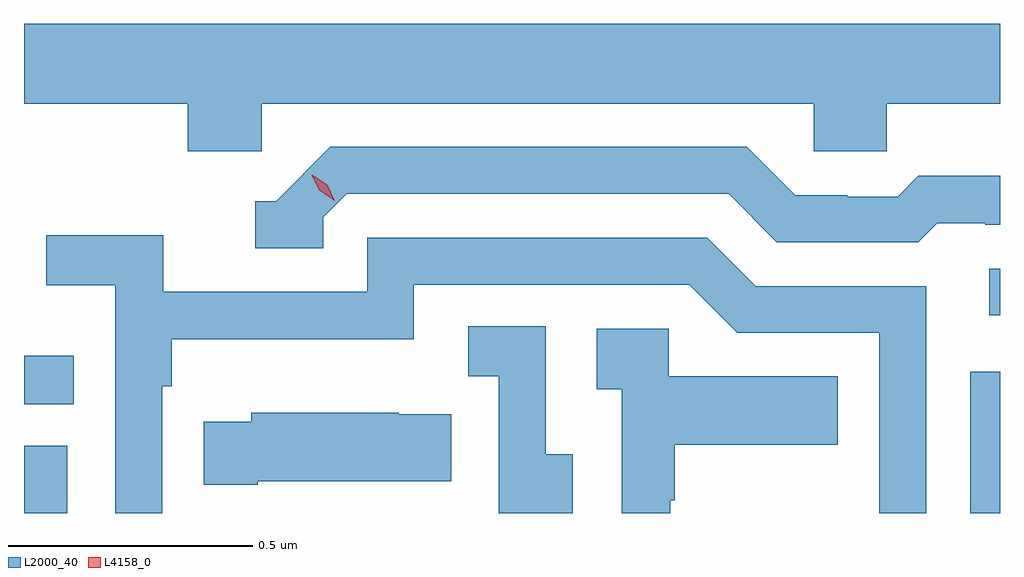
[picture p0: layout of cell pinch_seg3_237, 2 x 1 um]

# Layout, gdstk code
import gdstk
lib = gdstk.Library(unit=1e-6, precision=1e-09)
def R(c, l, rs):  # rectangles x0, y0, x1, y1
    for r in rs: c.add(gdstk.rectangle(r[:2], r[2:], *l))
def P(c, l, *ps):  # polygons
    for p in ps: c.add(gdstk.Polygon(p, *l))
L2000_40 = (2000, 40)
L4158_0 = (4158, 0)

pinch_seg3_237 = lib.new_cell('pinch_seg3_237')
R(pinch_seg3_237, L2000_40, [(912.665,734.708,912.754,734.847), (914.604,734.708,914.665,734.998), (912.665,734.932,912.767,735.031), (914.643,735.114,914.665,735.21)])
P(pinch_seg3_237, L2000_40, [(913.152,735.548),(914.283,735.548),(914.283,735.45),(914.433,735.45),(914.433,735.548),(914.665,735.548),(914.665,735.712),(912.665,735.712),(912.665,735.548),(913.001,735.548),(913.001,735.45),(913.152,735.45)],
  [(913.278,735.315),(913.326,735.363),(914.109,735.363),(914.208,735.264),(914.497,735.264),(914.536,735.303),(914.635,735.303),(914.635,735.3),(914.665,735.3),(914.665,735.4),(914.497,735.4),(914.455,735.357),(914.352,735.357),(914.352,735.36),(914.245,735.36),(914.146,735.459),(913.293,735.459),(913.182,735.348),(913.139,735.348),(913.139,735.252),(913.278,735.252)],
  [(912.948,734.969),(912.968,734.969),(912.968,735.065),(913.464,735.065),(913.464,735.177),(914.028,735.177),(914.127,735.078),(914.418,735.078),(914.418,734.708),(914.514,734.708),(914.514,735.174),(914.164,735.174),(914.065,735.273),(913.368,735.273),(913.368,735.162),(912.95,735.162),(912.95,735.278),(912.711,735.278),(912.711,735.176),(912.852,735.176),(912.852,734.708),(912.948,734.708)],
  [(913.789,734.829),(913.734,734.829),(913.734,735.092),(913.575,735.092),(913.575,734.989),(913.638,734.989),(913.638,734.708),(913.789,734.708)],
  [(913.989,734.735),(913.999,734.735),(913.999,734.849),(914.333,734.849),(914.333,734.989),(913.986,734.989),(913.986,735.087),(913.839,735.087),(913.839,734.963),(913.89,734.963),(913.89,734.708),(913.989,734.708)],
  [(913.144,734.774),(913.541,734.774),(913.541,734.911),(913.433,734.911),(913.433,734.914),(913.131,734.914),(913.131,734.896),(913.033,734.896),(913.033,734.767),(913.144,734.767)])
P(pinch_seg3_237, L4158_0, [(913.302,735.349),(913.271,735.369),(913.255,735.401),(913.255,735.402),(913.256,735.402),(913.286,735.382),(913.302,735.349),(913.302,735.349)])

lib.write_gds('pinch_seg3_237.gds')
